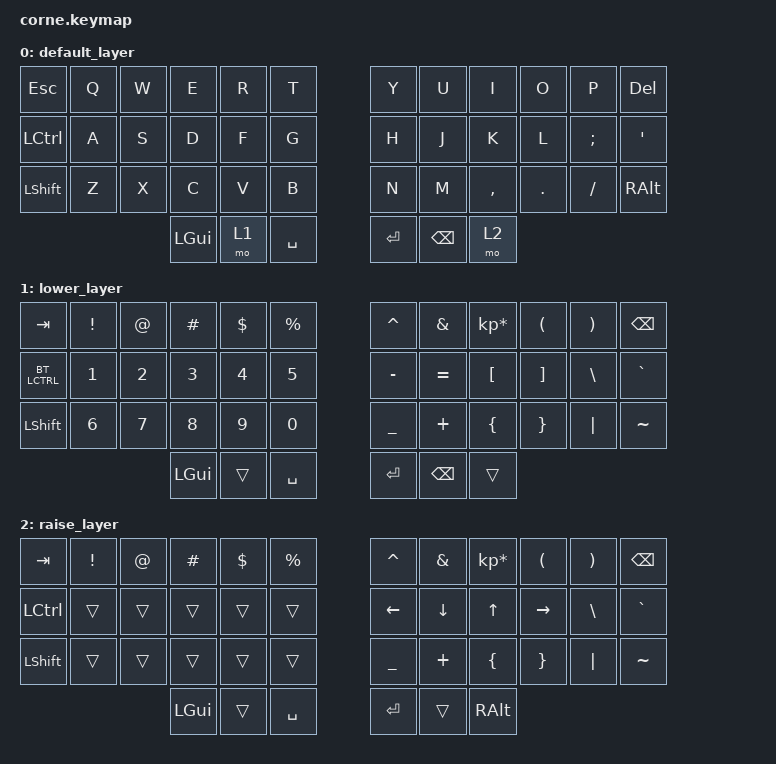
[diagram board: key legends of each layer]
/*
 * Copyright (c) 2020 The ZMK Contributors
 *
 * SPDX-License-Identifier: MIT
 */

#include <behaviors.dtsi>
#include <dt-bindings/zmk/keys.h>
#include <dt-bindings/zmk/bt.h>

/ {
        keymap {
                compatible = "zmk,keymap";

                default_layer {
// -----------------------------------------------------------------------------------------
// |  ESC |  Q  |  W  |  E  |  R  |  T  |   |  Y  |  U   |  I  |  O  |  P  |  DEL |
// | CTRL |  A  |  S  |  D  |  F  |  G  |   |  H  |  J   |  K  |  L  |  ;  |  '   |
// | SHFT |  Z  |  X  |  C  |  V  |  B  |   |  N  |  M   |  ,  |  .  |  /  | ALT  |
//                    | GUI | LWR | SPC |   | ENT | BKSP | UPR |
                        bindings = <
   &kp ESC   &kp Q &kp W &kp E &kp R &kp T   &kp Y &kp U  &kp I     &kp O   &kp P    &kp DEL
   &kp LCTRL &kp A &kp S &kp D &kp F &kp G   &kp H &kp J  &kp K     &kp L   &kp SEMI &kp SQT
   &kp LSHFT &kp Z &kp X &kp C &kp V &kp B   &kp N &kp M  &kp COMMA &kp DOT &kp FSLH &kp RALT
                  &kp LGUI &mo 1 &kp SPACE   &kp RET &kp BSPC &mo 2
                        >;
                };
                lower_layer {
// -----------------------------------------------------------------------------------------
// |  TAB |  !  |  @  |  #  |  $  |  %  |   |  ^  |  &  |  *  |  (  |  )  | BKSP |
// | CTRL |  1  |  2  |  3  |  4  |  5  |   |  -  |  =  |  [  |  ]  |  \  |  `   |
// | SHFT |  6  |  7  |  8  |  9  |  0  |   |  _  |  +  |  {  |  }  | "|" |  ~   |
//                    | GUI |     | SPC |   | ENT | BKSP|     |
                        bindings = <
   &kp TAB    &kp EXCL &kp AT &kp HASH &kp DLLR &kp PRCNT   &kp CARET &kp AMPS  &kp KP_MULTIPLY &kp LPAR &kp RPAR &kp BSPC
   &bt LCTRL  &kp N1  &kp N2   &kp N3 &kp N4   &kp N5       &kp MINUS &kp EQUAL &kp LBKT        &kp RBKT &kp BSLH &kp GRAVE
   &kp LSHFT  &kp N6  &kp N7   &kp N8 &kp N9   &kp N0       &kp UNDER &kp PLUS  &kp LBRC        &kp RBRC &kp PIPE &kp TILDE
                            &kp LGUI &trans &kp SPACE       &kp RET  &kp BSPC   &trans
                        >;
                };

                raise_layer {
// -----------------------------------------------------------------------------------------
// |  TAB |  !  |  @  |  #  |  $  |  %  |   |  ^  |  &  |  *  |  (  |  )  | BKSP |
// | CTRL |     |     |     |     |     |   |  UP | DOWN| LEFT|Right|  \  |  `   |
// | SHFT |     |     |     |     |     |   |  _  |  +  |  {  |  }  | "|" |  ~   |
//                    | GUI |     | SPC |   | ENT |     | ALT |
                        bindings = <
   &kp  TAB  &kp EXCL &kp AT &kp HASH &kp DLLR &kp PRCNT   &kp CARET &kp AMPS  &kp KP_MULTIPLY &kp LPAR &kp RPAR &kp BSPC
   &kp LCTRL &trans   &trans &trans   &trans   &trans      &kp LEFT &kp DOWN &kp UP            &kp RIGHT &kp BSLH &kp GRAVE
   &kp LSHFT &trans   &trans &trans   &trans   &trans      &kp UNDER &kp PLUS  &kp LBRC        &kp RBRC &kp PIPE &kp TILDE
                             &kp LGUI &trans   &kp SPACE   &kp RET   &trans    &kp RALT
                        >;
                };
        };
};
